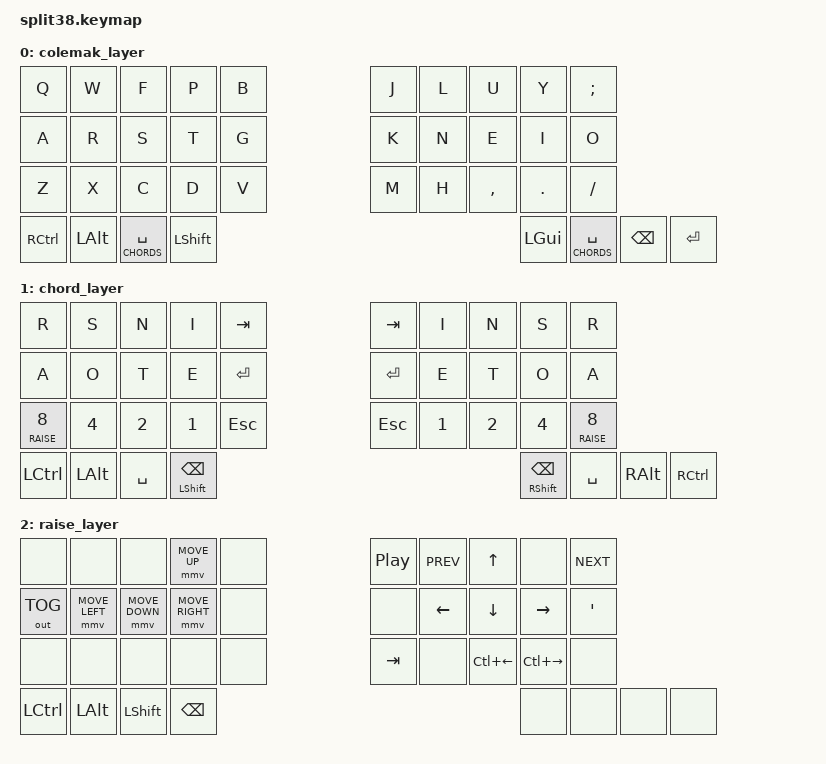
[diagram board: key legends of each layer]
/*
 * Copyright (c) 2020 The ZMK Contributors
 *
 * SPDX-License-Identifier: MIT
 */

#include <behaviors.dtsi>
#include <dt-bindings/zmk/keys.h>
#include <dt-bindings/zmk/bt.h>
#include <dt-bindings/zmk/outputs.h>
#include <dt-bindings/zmk/pointing.h>

// layers
#define COLEMAK 0
#define CHORDS   1
#define RAISE 2

// CONFIG
#define COMBO_TIMEOUT 50
#define COMBO_LAYERS 1
#define STICKY_TIMEOUT 500

// | 0  |  1  |  2  |  3  |  4  |      |  5  |  6  |  7   |  8  |  9  |
// | 10 |  11 |  12 |  13 |  14 |      |  15 |  16 |  17  |  18 |  19 |
// | 20 |  21 |  22 |  23 |  24 |      |  25 |  26 |  27  |  28 |  29 |
// |   30  |   31   |  32 |  33 |      |  34 |  35 |   36   |   37    |

&sk {
    release-after-ms = <STICKY_TIMEOUT>;
    quick-release;
};

/ {
    
    behaviors {
       
        ht: balanced_hold_tap {
            compatible = "zmk,behavior-hold-tap";
            #binding-cells = <2>;
            flavor = "balanced";
            tapping-term-ms = <400>;
            quick-tap-ms = <120>;
            bindings = <&kp>, <&kp>;
        };

        lt_spc: layer_tap_space {
            compatible = "zmk,behavior-hold-tap";
            label = "LAYER_TAP_MO_SPC";
            #binding-cells = <2>;
            flavor = "tap-preferred";
            tapping-term-ms = <200>;
            quick-tap-ms = <200>;
            require-prior-idle-ms = <125>;
            bindings = <&mo>, <&kp>;
        };

    };

    combos {
      compatible = "zmk,combos";
      #include "chords.dtsi"

      combo_l_toggle_chords { \
            timeout-ms = <COMBO_TIMEOUT>; \
            bindings = <&tog CHORDS>; \
            key-positions = <20 21 22 23>; \
            layers = <COLEMAK CHORDS>; \
      };

      combo_r_toggle_chords { \
            timeout-ms = <COMBO_TIMEOUT>; \
            bindings = <&tog CHORDS>; \
            key-positions = <26 27 28 29>; \
            layers = <COLEMAK CHORDS>; \
      };

    };

    keymap {
        compatible = "zmk,keymap";

        colemak_layer {
                bindings = <
&kp Q &kp W &kp F &kp P &kp B                         &kp J  &kp L &kp U  &kp Y     &kp SEMI  
&kp A &kp R &kp S &kp T &kp G                         &kp K  &kp N &kp E  &kp I     &kp O  
&kp Z &kp X &kp C &kp D &kp V                         &kp M  &kp H &kp COMMA  &kp DOT &kp SLASH
&kp RCTL &kp LALT &lt_spc CHORDS SPACE &kp LSHFT      &kp LGUI  &lt_spc CHORDS SPACE &kp BSPC  &kp ENTER
                >;
        };

        chord_layer {
                bindings = <
&kp R  &kp S  &kp N  &kp I  &kp TAB             &kp TAB  &kp I  &kp N  &kp S  &kp R
&kp A  &kp O  &kp T  &kp E  &kp ENTER           &kp ENTER &kp E  &kp T  &kp O  &kp A
&lt RAISE N8 &kp N4 &kp N2 &kp N1 &kp ESC       &kp ESC  &kp N1 &kp N2 &kp N4 &lt RAISE N8
 &kp LCTL &kp LALT &kp SPC  &ht LSHFT BSPC      &ht RSHFT BSPC &kp SPC   &kp RALT   &kp RCTL
                >;
        };

        raise_layer {
                bindings = <
&none  &none  &none  &mmv MOVE_UP  &none                                    &kp C_PP  &kp C_PREV  &kp UP &none  &kp C_NEXT
&out OUT_TOG  &mmv MOVE_LEFT  &mmv MOVE_DOWN  &mmv MOVE_RIGHT  &none        &none  &kp LEFT  &kp DOWN &kp RIGHT  &kp APOS
&none &none &none &none &none                                               &kp TAB &none  &kp LC(LEFT)  &kp LC(RIGHT)  &none
&kp LCTL &kp LALT &kp LSHFT &kp BSPC                                        &none  &none   &none  &none  
                >;
        };

        
        
    };
};
